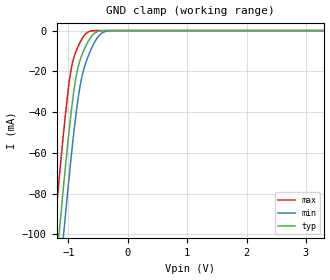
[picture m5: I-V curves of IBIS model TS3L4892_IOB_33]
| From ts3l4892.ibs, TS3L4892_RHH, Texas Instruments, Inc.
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[Model]   TS3L4892_IOB_33
Model_type  Terminator
| variable   typ   min   max
C_comp   2.33pF   2.05pF   2.59pF
| C_tri-state   2.33pF   2.05pF   2.59pF
[Temperature Range]   40   100   -40
| Ambient temperature   25   85   -40
[Voltage range]   3.3   3   3.6
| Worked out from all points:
|   GND clamp passes 1 mA (typ) near -0.54 V on its own axis
[GND Clamp]
| TS3L4892_IOB_33
|   Voltage   I(typ)   I(min)   I(max)
-3.3V     -888.4mA   -907.4mA   -874.2mA
-1.24V    -126.8mA   -151.7mA   -99.9mA
-1.145V   -96.02mA   -120.5mA   -69.36mA
-1.07V    -72.79mA   -96.66mA   -46.83mA
-955mV    -40.56mA   -62.46mA   -19.2mA
-880mV    -24.29mA   -42.86mA   -10.81mA
-810mV    -15.16mA   -28.36mA   -6.138mA
-745mV    -9.978mA   -19.47mA   -2.885mA
-665mV    -5.178mA   -12.42mA   -679.8uA
-490mV    -327.2uA   -2.684mA   -3.494uA
-330mV    -5.418uA   -173uA     -5.364nA
3.3V      852.5pA    392.1nA    32.38pA
